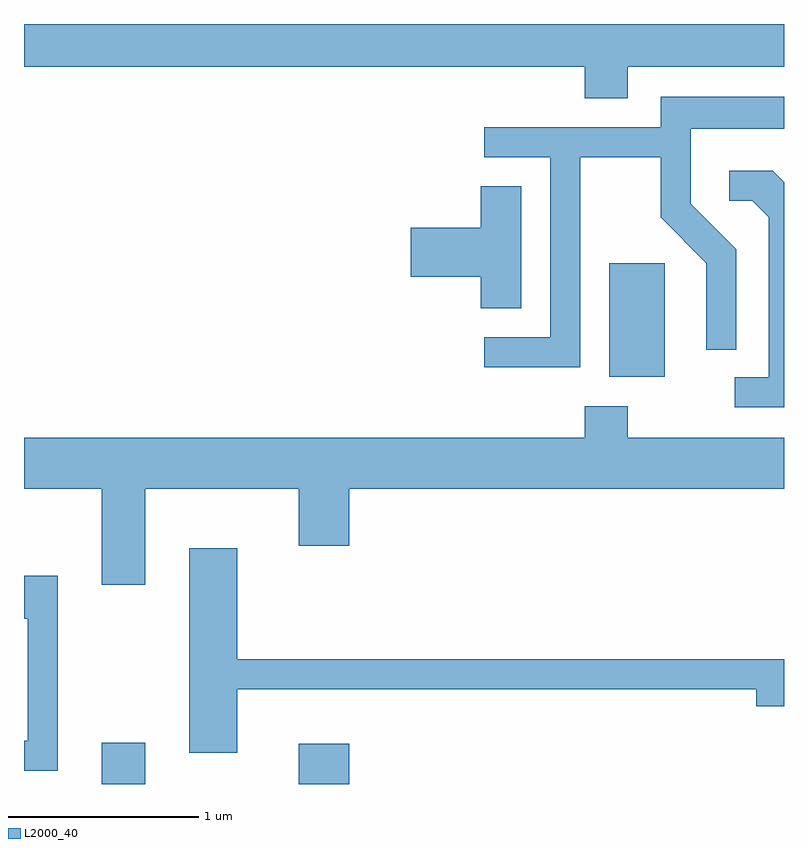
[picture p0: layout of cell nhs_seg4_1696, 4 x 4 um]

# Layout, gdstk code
import gdstk
lib = gdstk.Library(unit=1e-6, precision=1e-09)
def R(c, l, rs):  # rectangles x0, y0, x1, y1
    for r in rs: c.add(gdstk.rectangle(r[:2], r[2:], *l))
def P(c, l, *ps):  # polygons
    for p in ps: c.add(gdstk.Polygon(p, *l))
L2000_40 = (2000, 40)

nhs_seg4_1696 = lib.new_cell('nhs_seg4_1696')
R(nhs_seg4_1696, L2000_40, [(234.021,1381.982,234.249,1382.199), (235.056,1381.982,235.324,1382.194), (236.691,1384.126,236.984,1384.724)])
P(nhs_seg4_1696, L2000_40, [(236.789,1385.756),(237.611,1385.756),(237.611,1385.982),(233.611,1385.982),(233.611,1385.756),(236.561,1385.756),(236.561,1385.591),(236.789,1385.591)],
  [(236.539,1385.281),(236.961,1385.281),(236.961,1384.964),(237.201,1384.724),(237.201,1384.268),(237.359,1384.268),(237.359,1384.797),(237.119,1385.037),(237.119,1385.431),(237.611,1385.431),(237.611,1385.599),(236.961,1385.599),(236.961,1385.439),(236.033,1385.439),(236.033,1385.281),(236.381,1385.281),(236.381,1384.334),(236.033,1384.334),(236.033,1384.176),(236.539,1384.176)],
  [(237.611,1385.15),(237.552,1385.209),(237.323,1385.209),(237.323,1385.051),(237.444,1385.051),(237.531,1384.964),(237.531,1384.124),(237.353,1384.124),(237.353,1383.966),(237.611,1383.966)],
  [(236.229,1385.129),(236.016,1385.129),(236.016,1384.909),(235.646,1384.909),(235.646,1384.651),(236.016,1384.651),(236.016,1384.486),(236.229,1384.486)],
  [(234.249,1383.536),(235.056,1383.536),(235.056,1383.236),(235.324,1383.236),(235.324,1383.536),(237.611,1383.536),(237.611,1383.804),(236.789,1383.804),(236.789,1383.969),(236.561,1383.969),(236.561,1383.804),(233.611,1383.804),(233.611,1383.536),(234.021,1383.536),(234.021,1383.031),(234.249,1383.031)],
  [(234.734,1382.481),(237.466,1382.481),(237.466,1382.391),(237.611,1382.391),(237.611,1382.639),(234.734,1382.639),(234.734,1383.224),(234.481,1383.224),(234.481,1382.146),(234.734,1382.146)],
  [(233.789,1383.079),(233.611,1383.079),(233.611,1382.851),(233.631,1382.851),(233.631,1382.209),(233.611,1382.209),(233.611,1382.051),(233.789,1382.051)])

lib.write_gds('nhs_seg4_1696.gds')
